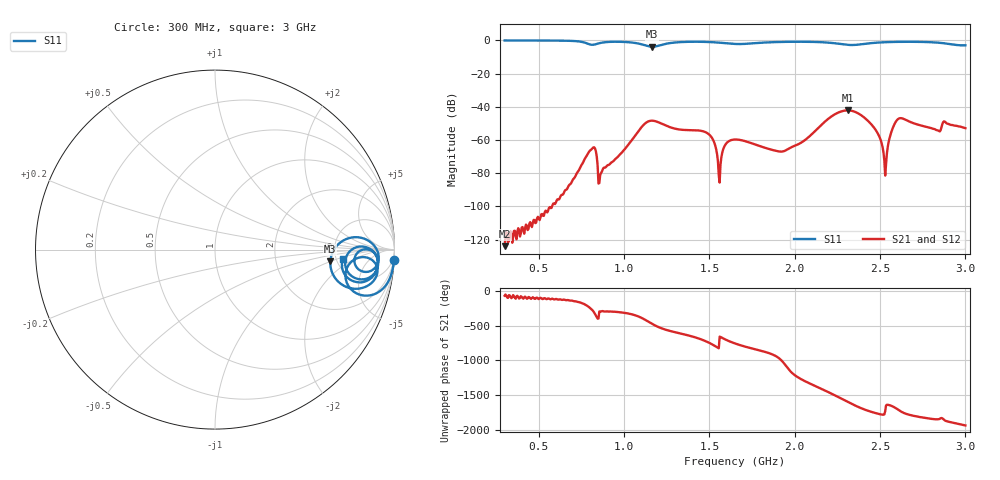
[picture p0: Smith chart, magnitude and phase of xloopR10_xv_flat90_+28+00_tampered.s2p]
! xloopR10_xv_flat90_+28+00_tampered, gap C 0.80 pF
! simulated by sim/fixtures_fdtd.py (S12 = S21, S22 not computed)
# HZ S RI R 50
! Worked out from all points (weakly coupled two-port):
!   541 points, 300 MHz to 3 GHz, reference 50 ohm
!   highest |S21| = -42.14 dB at 2.31 GHz (marker M1); lowest = -124.0 dB at 300 MHz (marker M2)
!   lowest |S11| = -3.8 dB at 1.165 GHz (marker M3), VSWR 4.65, Z = 221 - j48.9 ohm
!   |S11| at or under -10 dB: nowhere
!   |S22| runs from - to - dB; largest |S21 - S12| = 0
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3e8  0.9974 -0.0574  2e-07 -6e-07  2e-07 -6e-07  0 0
7.1e8  0.933 -0.22  -6.41e-05 -3.57e-05  -6.41e-05 -3.57e-05  0 0
7.5e8  0.8732 -0.2529  -0.000174 -1.09e-05  -0.000174 -1.09e-05  0 0
8.2e8  0.7357 -0.101  0.000263 0.000537  0.000263 0.000537  0 0
8.6e8  0.8368 -0.0426  4.11e-05 7.83e-05  4.11e-05 7.83e-05  0 0
1.165e9  0.6426 -0.0645  -0.00176 -0.0034  -0.00176 -0.0034  0 0
1.2e9  0.6885 0.0314  -0.00324 -0.00115  -0.00324 -0.00115  0 0
1.49e9  0.8935 -0.0992  0.00151 -0.000491  0.00151 -0.000491  0 0
1.525e9  0.8736 -0.1158  0.000419 -0.000826  0.000419 -0.000826  0 0
1.56e9  0.8466 -0.1242  2.59e-05 4.52e-05  2.59e-05 4.52e-05  0 0
1.595e9  0.8155 -0.1195  0.000707 0.000222  0.000707 0.000222  0 0
1.65e9  0.7795 -0.0803  0.000823 -0.000629  0.000823 -0.000629  0 0
1.925e9  0.9018 -0.0388  0.000143 0.000424  0.000143 0.000424  0 0
2.1e9  0.8972 -0.1194  -9.95e-05 0.00149  -9.95e-05 0.00149  0 0
2.31e9  0.7292 -0.1024  -0.00713 -0.00319  -0.00713 -0.00319  0 0
2.465e9  0.8446 0.0128  0.00157 0.00174  0.00157 0.00174  0 0
2.5e9  0.8696 -0.000173  0.00101 0.000484  0.00101 0.000484  0 0
2.53e9  0.885 -0.0143  3.26e-05 7.82e-05  3.26e-05 7.82e-05  0 0
2.55e9  0.8928 -0.0246  -0.000797 0.000301  -0.000797 0.000301  0 0
2.615e9  0.9054 -0.0604  0.00109 0.00439  0.00109 0.00439  0 0
2.84e9  0.8385 -0.1768  0.00134 -0.0014  0.00134 -0.0014  0 0
3e9  0.7126 -0.054  -0.00162 -0.00159  -0.00162 -0.00159  0 0
